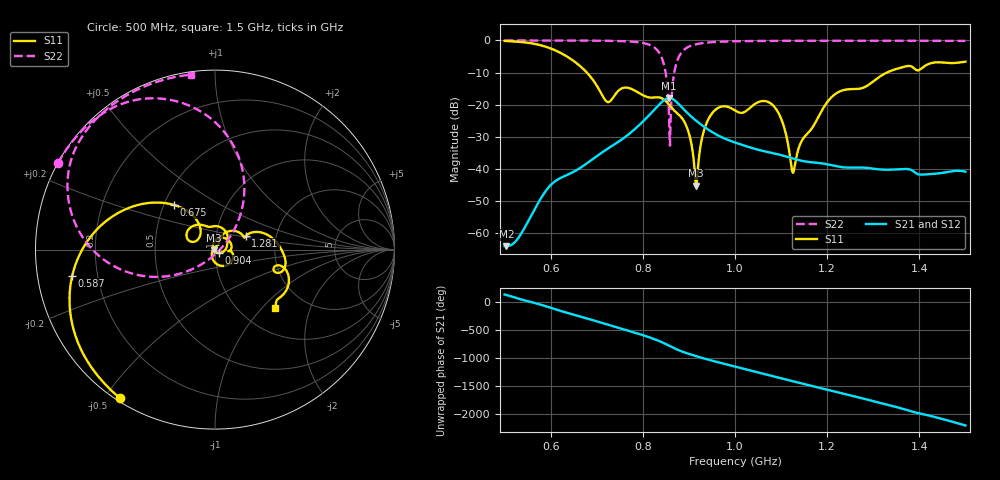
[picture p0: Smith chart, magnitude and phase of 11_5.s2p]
! TOUCHSTONE file generated by CST MICROWAVE STUDIO
! Date and time: Fri Oct  2 19:09:37 2020
! Project name: Scenario_1_Free_Space_out_of_line.cst
! Parameters = {Lambda=346.42; Step_1=17.321; dy1=174.23; dx1=866; L_HA=400; MT=2.54; Rad_Dielectric=30; Rad_Lower=7.3; Rad_Upper=30; a_HA=580; a_WG=246; b_HA=500; b_WG=121; c_HA=0; c_WG=187; d_feed=85; h_feed=15; h_lower=18; h_upper=40}
! Header version: 2018
! Port assignment regex: !\s*Touchstone port\s*([0-9]+)\s*=\s*(CST MWS port|CST DS port)\s*([0-9]+|Zmin|Zmax)\s*\(\"(.*)\"\)(\s*mode\s*([0-9]+))?.*
! Touchstone port assignment:
! Touchstone port 1 = CST MWS port 1 ("")
! Touchstone port 2 = CST MWS port 2 ("")
# GHz S DB R 50
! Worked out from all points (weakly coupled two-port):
!   1003 points, 500 MHz to 1.5 GHz, reference 50 ohm
!   highest |S21| = -17.91 dB at 857 MHz (marker M1); lowest = -64.0 dB at 504 MHz (marker M2)
!   lowest |S11| = -45.1 dB at 916 MHz (marker M3), VSWR 1.01, Z = 49.5 - j0.295 ohm
!   |S11| at or under -10 dB: 678.6 MHz to 1.329 GHz (650.8 MHz wide, 64.8 % of centre)
!   |S22| runs from -32.7 to 0.0 dB; largest |S21 - S12| = 2.9e-05
!   S11 on the Smith chart (normalised r, x): 500 MHz: 0.01, -0.55; 587 MHz: 0.11, -0.09; 675 MHz: 0.57, +0.32; 904 MHz: 1.04, -0.04; 1.281 GHz: 1.39, +0.22; 1.5 GHz: 1.42, -1.19
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0.5  -0.15 -122.5  -63.93 139.0  -63.93 139.0  -0.01 151.1
0.504  -0.18 -124.1  -63.96 130.6  -63.96 130.6  -0.01 150.9
0.587  -1.85 -169.7  -47.26 -64.4  -47.26 -64.3  -0.02 145.1
0.667  -8.37 137.1  -39.37 97.7  -39.36 97.7  -0.04 138.3
0.675  -9.47 132.4  -38.58 78.9  -38.58 78.9  -0.05 137.5
0.723  -19.14 142.1  -33.73 -39.4  -33.73 -39.4  -0.11 131.8
0.834  -17.69 83.4  -20.16 28.9  -20.16 28.9  -3.51 86.3
0.848  -18.65 59.6  -18.36 -22.8  -18.36 -22.8  -8.95 62.8
0.857  -19.99 45.2  -17.91 -59.8  -17.91 -59.8  -24.21 29.1
0.875  -22.71 21.8  -19.37 -130.7  -19.37 -130.7  -6.18 -164.6
0.904  -31.18 -39.8  -23.53 142.3  -23.53 142.3  -1.68 165.9
0.916  -45.15 -147.4  -24.99 111.6  -24.99 111.6  -1.18 159.8
0.946  -23.52 71.9  -28.10 41.1  -28.10 41.1  -0.59 150.1
1  -21.76 -5.6  -31.73 -74.4  -31.73 -74.4  -0.26 140.2
1.082  -20.12 -67.3  -35.03 113.6  -35.03 113.6  -0.14 131.3
1.105  -26.26 -108.5  -35.84 64.7  -35.84 64.7  -0.12 129.3
1.126  -41.14 140.4  -36.73 21.2  -36.73 21.2  -0.11 127.5
1.167  -27.29 60.4  -37.89 -60.3  -37.89 -60.3  -0.09 124.2
1.216  -16.83 46.5  -38.97 -162.1  -38.97 -162.1  -0.09 120.4
1.281  -14.54 23.9  -39.55 65.3  -39.55 65.3  -0.09 115.5
1.334  -9.70 10.9  -40.19 -46.2  -40.19 -46.2  -0.09 111.5
1.5  -6.60 -44.3  -40.81 -51.5  -40.83 -51.6  -0.14 97.9
